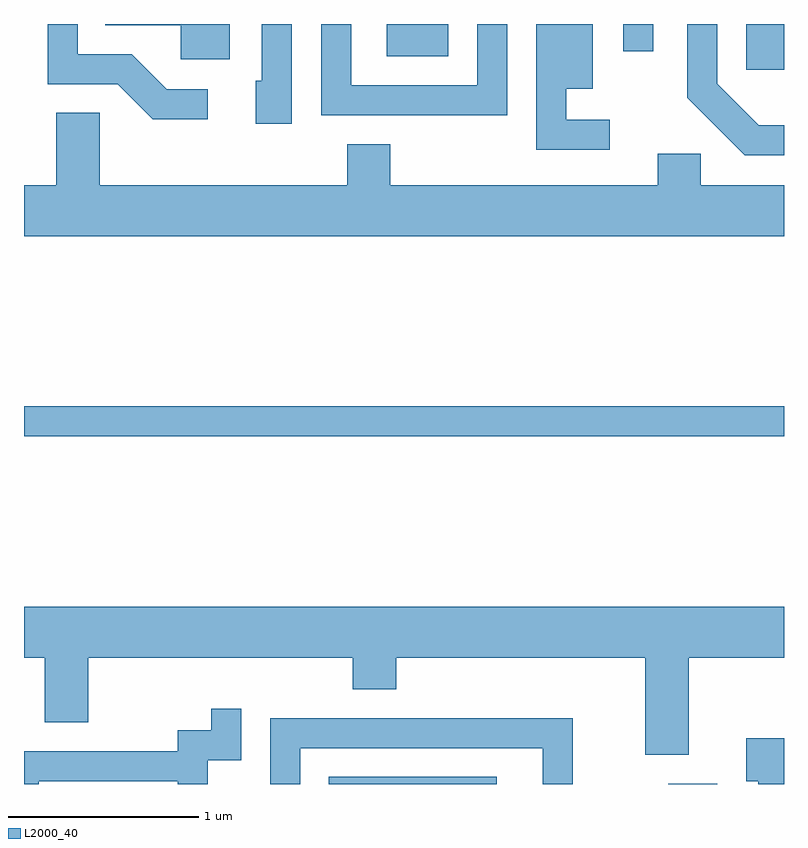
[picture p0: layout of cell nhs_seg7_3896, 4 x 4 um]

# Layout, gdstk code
import gdstk
lib = gdstk.Library(unit=1e-6, precision=1e-09)
def R(c, l, rs):  # rectangles x0, y0, x1, y1
    for r in rs: c.add(gdstk.rectangle(r[:2], r[2:], *l))
def P(c, l, *ps):  # polygons
    for p in ps: c.add(gdstk.Polygon(p, *l))
L2000_40 = (2000, 40)

nhs_seg7_3896 = lib.new_cell('nhs_seg7_3896')
R(nhs_seg7_3896, L2000_40, [(305.216,1780.252,306.098,1780.289), (307.001,1780.252,307.259,1780.254), (303.611,1782.081,307.611,1782.239), (307.411,1784.011,307.611,1784.252), (305.521,1784.081,305.844,1784.252), (306.766,1784.108,306.924,1784.252)])
P(nhs_seg7_3896, L2000_40, [(306.693,1783.749),(306.464,1783.749),(306.464,1783.911),(306.604,1783.911),(306.604,1784.252),(306.306,1784.252),(306.306,1783.591),(306.693,1783.591)],
  [(304.694,1784.252),(304.038,1784.252),(304.038,1784.246),(304.436,1784.246),(304.436,1784.066),(304.694,1784.066)],
  [(304.578,1783.909),(304.362,1783.909),(304.177,1784.094),(303.894,1784.094),(303.894,1784.252),(303.736,1784.252),(303.736,1783.936),(304.104,1783.936),(304.289,1783.751),(304.578,1783.751)],
  [(307.611,1783.719),(307.477,1783.719),(307.259,1783.937),(307.259,1784.252),(307.101,1784.252),(307.101,1783.864),(307.404,1783.561),(307.611,1783.561)],
  [(306.154,1784.252),(305.996,1784.252),(305.996,1783.929),(305.334,1783.929),(305.334,1784.252),(305.176,1784.252),(305.176,1783.771),(306.154,1783.771)],
  [(305.019,1784.252),(304.861,1784.252),(304.861,1783.954),(304.831,1783.954),(304.831,1783.726),(305.019,1783.726)],
  [(307.611,1783.404),(307.174,1783.404),(307.174,1783.569),(306.946,1783.569),(306.946,1783.404),(305.539,1783.404),(305.539,1783.619),(305.311,1783.619),(305.311,1783.404),(304.009,1783.404),(304.009,1783.784),(303.781,1783.784),(303.781,1783.404),(303.611,1783.404),(303.611,1783.136),(307.611,1783.136)],
  [(307.109,1780.916),(307.611,1780.916),(307.611,1781.184),(303.611,1781.184),(303.611,1780.916),(303.721,1780.916),(303.721,1780.576),(303.949,1780.576),(303.949,1780.916),(305.341,1780.916),(305.341,1780.751),(305.569,1780.751),(305.569,1780.916),(306.881,1780.916),(306.881,1780.406),(307.109,1780.406)],
  [(303.689,1780.266),(304.421,1780.266),(304.421,1780.252),(304.579,1780.252),(304.579,1780.376),(304.754,1780.376),(304.754,1780.648),(304.596,1780.648),(304.596,1780.534),(304.421,1780.534),(304.421,1780.424),(303.611,1780.424),(303.611,1780.252),(303.689,1780.252)],
  [(305.064,1780.441),(306.341,1780.441),(306.341,1780.252),(306.499,1780.252),(306.499,1780.599),(304.906,1780.599),(304.906,1780.252),(305.064,1780.252)],
  [(307.611,1780.494),(307.411,1780.494),(307.411,1780.266),(307.476,1780.266),(307.476,1780.252),(307.611,1780.252)])

lib.write_gds('nhs_seg7_3896.gds')
